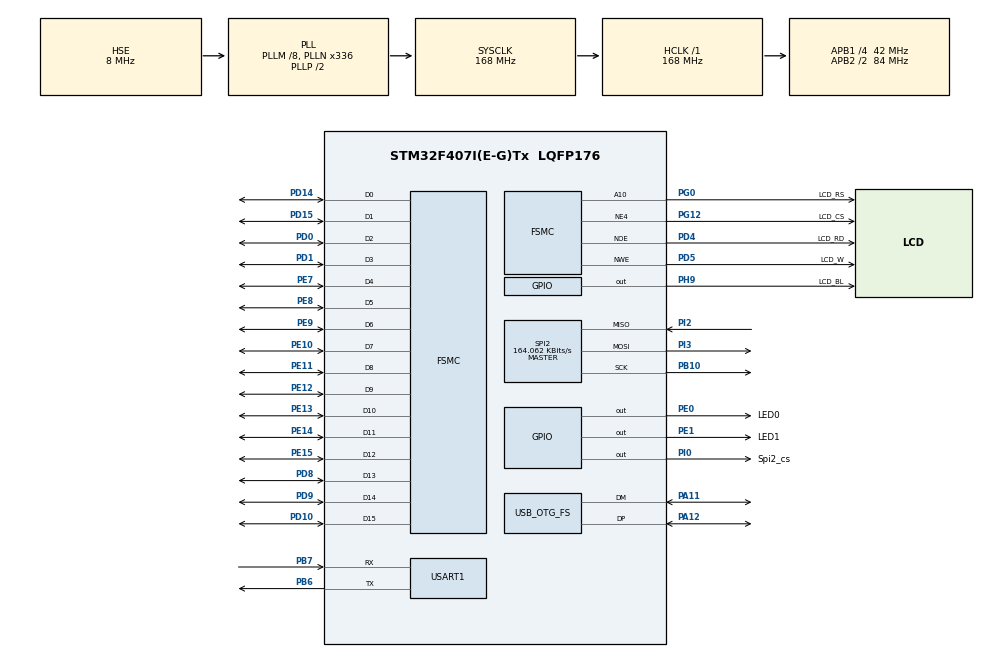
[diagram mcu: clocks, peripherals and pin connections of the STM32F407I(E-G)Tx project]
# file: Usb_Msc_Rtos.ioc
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FREERTOS.Tasks01=defaultTask,0,256,StartDefaultTask,Default,NULL,Dynamic,NULL,NULL
FREERTOS.configMINIMAL_STACK_SIZE=256
FREERTOS.configTOTAL_HEAP_SIZE=5120
FSMC.AddressSetupTime1=0xf
FSMC.DataSetupTime1=60
FSMC.ExtendedAddressSetupTime1=9
FSMC.ExtendedDataSetupTime1=9
FSMC.ExtendedMode1=FSMC_EXTENDED_MODE_ENABLE
Mcu.Family=STM32F4
Mcu.Name=STM32F407I(E-G)Tx
Mcu.Package=LQFP176
NVIC.OTG_FS_IRQn=true\:5\:0\:false\:false\:true\:true\:true\:true\:true
NVIC.PriorityGroup=NVIC_PRIORITYGROUP_4
NVIC.TIM1_UP_TIM10_IRQn=true\:0\:0\:true\:false\:true\:false\:false\:true\:true
NVIC.TimeBase=TIM1_UP_TIM10_IRQn
NVIC.TimeBaseIP=TIM1
PA11.Mode=Host_Only
PA11.Signal=USB_OTG_FS_DM
PA12.Mode=Host_Only
PA12.Signal=USB_OTG_FS_DP
PA13.Mode=Serial_Wire
PA13.Signal=SYS_JTMS-SWDIO
PA14.Mode=Serial_Wire
PA14.Signal=SYS_JTCK-SWCLK
PB10.Mode=Full_Duplex_Master
PB10.Signal=SPI2_SCK
PB6.Mode=Asynchronous
PB6.Signal=USART1_TX
PB7.Mode=Asynchronous
PB7.Signal=USART1_RX
PD0.Signal=FSMC_D2_DA2
PD1.Signal=FSMC_D3_DA3
PD10.Signal=FSMC_D15_DA15
PD14.Signal=FSMC_D0_DA0
PD15.Signal=FSMC_D1_DA1
PD4.GPIO_Label=LCD_RD
PD4.GPIO_PuPd=GPIO_PULLUP
PD4.Signal=FSMC_NOE
PD5.GPIO_Label=LCD_W
PD5.GPIO_PuPd=GPIO_PULLUP
PD5.Signal=FSMC_NWE
PD8.Signal=FSMC_D13_DA13
PD9.Signal=FSMC_D14_DA14
PE0.GPIO_Label=LED0
PE0.GPIO_Speed=GPIO_SPEED_FREQ_HIGH
PE0.PinState=GPIO_PIN_SET
PE0.Signal=GPIO_Output
PE1.GPIO_Label=LED1
PE1.GPIO_Speed=GPIO_SPEED_FREQ_HIGH
PE1.PinState=GPIO_PIN_SET
PE1.Signal=GPIO_Output
PE10.Signal=FSMC_D7_DA7
PE11.Signal=FSMC_D8_DA8
PE12.Signal=FSMC_D9_DA9
PE13.Signal=FSMC_D10_DA10
PE14.Signal=FSMC_D11_DA11
PE15.Signal=FSMC_D12_DA12
PE7.Signal=FSMC_D4_DA4
PE8.Signal=FSMC_D5_DA5
PE9.Signal=FSMC_D6_DA6
PG0.GPIO_Label=LCD_RS
PG0.GPIO_PuPd=GPIO_PULLUP
PG0.Signal=FSMC_A10
PG12.GPIO_Label=LCD_CS
PG12.GPIO_PuPd=GPIO_PULLUP
PG12.Mode=NorPsramChipSelect4_1
PG12.Signal=FSMC_NE4
PH0-OSC_IN.Mode=HSE-External-Oscillator
PH0-OSC_IN.Signal=RCC_OSC_IN
PH1-OSC_OUT.Mode=HSE-External-Oscillator
PH1-OSC_OUT.Signal=RCC_OSC_OUT
PH9.GPIO_Label=LCD_BL
PH9.GPIO_Speed=GPIO_SPEED_FREQ_HIGH
PH9.PinState=GPIO_PIN_SET
PH9.Signal=GPIO_Output
PI0.GPIO_Label=Spi2_cs
PI0.GPIO_PuPd=GPIO_PULLUP
PI0.GPIO_Speed=GPIO_SPEED_FREQ_HIGH
PI0.PinState=GPIO_PIN_SET
PI0.Signal=GPIO_Output
PI2.Mode=Full_Duplex_Master
PI2.Signal=SPI2_MISO
PI3.Mode=Full_Duplex_Master
PI3.Signal=SPI2_MOSI
ProjectManager.HeapSize=0x128
ProjectManager.StackSize=0x256
ProjectManager.TargetToolchain=MDK-ARM V5.32
RCC.48MHZClocksFreq_Value=48000000
RCC.AHBFreq_Value=168000000
RCC.APB1CLKDivider=RCC_HCLK_DIV4
RCC.APB1Freq_Value=42000000
RCC.APB1TimFreq_Value=84000000
RCC.APB2CLKDivider=RCC_HCLK_DIV2
RCC.APB2Freq_Value=84000000
RCC.APB2TimFreq_Value=168000000
RCC.CortexFreq_Value=168000000
RCC.HCLKFreq_Value=168000000
RCC.HSE_VALUE=8000000
RCC.HSI_VALUE=16000000
RCC.LSE_VALUE=32768
RCC.PLLM=8
RCC.PLLN=336
RCC.PLLQ=7
RCC.SYSCLKFreq_VALUE=168000000
RCC.SYSCLKSource=RCC_SYSCLKSOURCE_PLLCLK
RCC.VCOOutputFreq_Value=336000000
SH.FSMC_A10.0=FSMC_A10,A10_1
SH.FSMC_D0_DA0.0=FSMC_D0,16b-d1
SH.FSMC_D10_DA10.0=FSMC_D10,16b-d1
SH.FSMC_D11_DA11.0=FSMC_D11,16b-d1
SH.FSMC_D12_DA12.0=FSMC_D12,16b-d1
SH.FSMC_D13_DA13.0=FSMC_D13,16b-d1
SH.FSMC_D14_DA14.0=FSMC_D14,16b-d1
SH.FSMC_D15_DA15.0=FSMC_D15,16b-d1
SH.FSMC_D1_DA1.0=FSMC_D1,16b-d1
SH.FSMC_D2_DA2.0=FSMC_D2,16b-d1
SH.FSMC_D3_DA3.0=FSMC_D3,16b-d1
SH.FSMC_D4_DA4.0=FSMC_D4,16b-d1
SH.FSMC_D5_DA5.0=FSMC_D5,16b-d1
SH.FSMC_D6_DA6.0=FSMC_D6,16b-d1
SH.FSMC_D7_DA7.0=FSMC_D7,16b-d1
SH.FSMC_D8_DA8.0=FSMC_D8,16b-d1
SH.FSMC_D9_DA9.0=FSMC_D9,16b-d1
SH.FSMC_NOE.0=FSMC_NOE,Lcd1
SH.FSMC_NWE.0=FSMC_NWE,Lcd1
SPI2.BaudRatePrescaler=SPI_BAUDRATEPRESCALER_256
SPI2.CLKPhase=SPI_PHASE_2EDGE
SPI2.CLKPolarity=SPI_POLARITY_HIGH
SPI2.CalculateBaudRate=164.062 KBits/s
SPI2.Direction=SPI_DIRECTION_2LINES
SPI2.Mode=SPI_MODE_MASTER
SPI2.VirtualType=VM_MASTER
USART1.VirtualMode=VM_ASYNC
USB_HOST.USBH_HandleTypeDef-MSC_FS=hUsbHostFS
USB_HOST.VirtualModeFS=Msc
USB_OTG_FS.VirtualMode=Host_Only
USB_OTG_FS.phy_itface=HCD_PHY_EMBEDDED
VP_FREERTOS_VS_CMSIS_V1.Mode=CMSIS_V1
VP_SYS_VS_tim1.Mode=TIM1
VP_USB_HOST_VS_USB_HOST_MSC_FS.Mode=MSC_FS
board=custom

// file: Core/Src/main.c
/* USER CODE BEGIN Header */
/**
  ******************************************************************************
  * @file           : main.c
  * @brief          : Main program body
  ******************************************************************************
  * @attention
  *
  * Copyright (c) 2024 STMicroelectronics.
  * All rights reserved.
  *
  * This software is licensed under terms that can be found in the LICENSE file
  * in the root directory of this software component.
  * If no LICENSE file comes with this software, it is provided AS-IS.
  *
  ******************************************************************************
  */
/* USER CODE END Header */
#include "main.h"
#include "cmsis_os.h"
#include "spi.h"
#include "usart.h"
#include "usb_host.h"
#include "gpio.h"
#include "fsmc.h"

void SystemClock_Config(void);
void MX_FREERTOS_Init(void);

int main(void)
{

  /* MCU Configuration--------------------------------------------------------*/

  /* Reset of all peripherals, Initializes the Flash interface and the Systick. */
  HAL_Init();

  /* Configure the system clock */
  SystemClock_Config();

  /* Initialize all configured peripherals */
  MX_GPIO_Init();
  MX_USART1_UART_Init();
  MX_FSMC_Init();
  MX_SPI2_Init();

  /* Call init function for freertos objects (in cmsis_os2.c) */
  MX_FREERTOS_Init();

  /* Start scheduler */
  osKernelStart();

  /* We should never get here as control is now taken by the scheduler */

  /* Infinite loop */
  while (1)
  {

  }
}

void SystemClock_Config(void)
{
  RCC_OscInitTypeDef RCC_OscInitStruct = {0};
  RCC_ClkInitTypeDef RCC_ClkInitStruct = {0};

  /** Configure the main internal regulator output voltage
  */
  __HAL_RCC_PWR_CLK_ENABLE();
  __HAL_PWR_VOLTAGESCALING_CONFIG(PWR_REGULATOR_VOLTAGE_SCALE1);

  /** Initializes the RCC Oscillators according to the specified parameters
  * in the RCC_OscInitTypeDef structure.
  */
  RCC_OscInitStruct.OscillatorType = RCC_OSCILLATORTYPE_HSE;
  RCC_OscInitStruct.HSEState = RCC_HSE_ON;
  RCC_OscInitStruct.PLL.PLLState = RCC_PLL_ON;
  RCC_OscInitStruct.PLL.PLLSource = RCC_PLLSOURCE_HSE;
  RCC_OscInitStruct.PLL.PLLM = 8;
  RCC_OscInitStruct.PLL.PLLN = 336;
  RCC_OscInitStruct.PLL.PLLP = RCC_PLLP_DIV2;
  RCC_OscInitStruct.PLL.PLLQ = 7;
  if (HAL_RCC_OscConfig(&RCC_OscInitStruct) != HAL_OK)
  {
    Error_Handler();
  }

  /** Initializes the CPU, AHB and APB buses clocks
  */
  RCC_ClkInitStruct.ClockType = RCC_CLOCKTYPE_HCLK|RCC_CLOCKTYPE_SYSCLK
                              |RCC_CLOCKTYPE_PCLK1|RCC_CLOCKTYPE_PCLK2;
  RCC_ClkInitStruct.SYSCLKSource = RCC_SYSCLKSOURCE_PLLCLK;
  RCC_ClkInitStruct.AHBCLKDivider = RCC_SYSCLK_DIV1;
  RCC_ClkInitStruct.APB1CLKDivider = RCC_HCLK_DIV4;
  RCC_ClkInitStruct.APB2CLKDivider = RCC_HCLK_DIV2;

  if (HAL_RCC_ClockConfig(&RCC_ClkInitStruct, FLASH_LATENCY_5) != HAL_OK)
  {
    Error_Handler();
  }
}

void HAL_TIM_PeriodElapsedCallback(TIM_HandleTypeDef *htim)
{
  if (htim->Instance == TIM1) {
    HAL_IncTick();
  }
}

void Error_Handler(void)
{
  __disable_irq();
  while (1)
  {
  }
}

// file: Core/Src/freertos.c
/* USER CODE BEGIN Header */
/**
  ******************************************************************************
  * File Name          : freertos.c
  * Description        : Code for freertos applications
  ******************************************************************************
  * @attention
  *
  * Copyright (c) 2024 STMicroelectronics.
  * All rights reserved.
  *
  * This software is licensed under terms that can be found in the LICENSE file
  * in the root directory of this software component.
  * If no LICENSE file comes with this software, it is provided AS-IS.
  *
  ******************************************************************************
  */
/* USER CODE END Header */

#include "FreeRTOS.h"
#include "task.h"
#include "main.h"
#include "cmsis_os.h"

/* USER CODE BEGIN Includes */
#include "lcd.h"
#include "delay.h"
#include "usart.h"

#include "usbh_def.h"  //USBH_HandleTypeDef

#include "norflash.h"
#include "usbh_core.h"
#include "usbh_msc.h"
#include "exfuns.h"
#include "malloc.h"
#include "usb_host.h" //usbh_check_enume_dead、usbh_hid_reconnect
/* USER CODE END Includes */

/* USER CODE BEGIN Variables */
//lcd
uint8_t lcd_id[12];
uint16_t colors[12] = {WHITE, BLACK, BLUE, RED, MAGENTA, GREEN, CYAN, YELLOW, BRRED, GRAY, LGRAY, BROWN};
uint8_t color_index = 0;

//USBH_HandleTypeDef hUSBHost;    /* USB Host处理结构体
extern USBH_HandleTypeDef hUsbHostFS;    /* USB Host处理结构体 在usb_host.c中定义*/
uint8_t t = 0;
extern uint8_t usb_mount_status;  //usb_host.c
/* USER CODE END Variables */
osThreadId defaultTaskHandle;

void StartDefaultTask(void const * argument);

extern void MX_USB_HOST_Init(void);
void MX_FREERTOS_Init(void); /* (MISRA C 2004 rule 8.1) */

/* GetIdleTaskMemory prototype (linked to static allocation support) */
void vApplicationGetIdleTaskMemory( StaticTask_t **ppxIdleTaskTCBBuffer, StackType_t **ppxIdleTaskStackBuffer, uint32_t *pulIdleTaskStackSize );

/* USER CODE BEGIN GET_IDLE_TASK_MEMORY */
static StaticTask_t xIdleTaskTCBBuffer;
static StackType_t xIdleStack[configMINIMAL_STACK_SIZE];

void vApplicationGetIdleTaskMemory( StaticTask_t **ppxIdleTaskTCBBuffer, StackType_t **ppxIdleTaskStackBuffer, uint32_t *pulIdleTaskStackSize )
{
  *ppxIdleTaskTCBBuffer = &xIdleTaskTCBBuffer;
  *ppxIdleTaskStackBuffer = &xIdleStack[0];
  *pulIdleTaskStackSize = configMINIMAL_STACK_SIZE;
  /* place for user code */
}
/* USER CODE END GET_IDLE_TASK_MEMORY */

void MX_FREERTOS_Init(void) {

  /* Create the thread(s) */
  /* definition and creation of defaultTask */
  osThreadDef(defaultTask, StartDefaultTask, osPriorityNormal, 0, 256);
  defaultTaskHandle = osThreadCreate(osThread(defaultTask), NULL);

}

void StartDefaultTask(void const * argument)
{
  /* init code for USB_HOST */
  MX_USB_HOST_Init();
  /* USER CODE BEGIN StartDefaultTask */
	//lcd init
	delay_init(168);                    // 延时初始化
	lcd_init();                             // 初始化LCD
  sprintf((char *)lcd_id, "LCD ID:%04X", lcddev.id);  // 将LCD ID打印到lcd_id数组

	my_mem_init(SRAMIN);                /* 初始化内部SRAM内存池 */
	my_mem_init(SRAMCCM);               /* 初始化内部SRAMCCM内存池 */

	exfuns_init();                      /* 为fatfs相关变量申请内存 */

	lcd_show_string(30, 50, 200, 16, 16, "STM32", RED);
	lcd_show_string(30, 70, 200, 16, 16, "USB U Disk TEST", RED);
	lcd_show_string(30, 90, 200, 16, 16, "ATOM@ALIENTEK", RED);

	lcd_show_string(30, 110, 200, 16, 16, "USB Connecting...", RED);    /* 提示USB开始连接 */
  /* Infinite loop */
  for(;;)
  {
    //lcd test
		/*
		lcd_clear(colors[color_index]);  //清屏

		lcd_show_string(10, 40, 240, 32, 32, "STM32", RED);
		lcd_show_string(10, 80, 240, 24, 24, "TFTLCD TEST", RED);
		lcd_show_string(10, 110, 240, 16, 16, "ATOM@ALIENTEK", RED);
		lcd_show_string(10, 130, 240, 16, 16, (char *)lcd_id, RED); // 显示LCD ID
		color_index++;

		if (color_index == 12){
				color_index = 0;
		}
		HAL_GPIO_TogglePin(LED0_GPIO_Port, LED0_Pin); // LED0闪烁
		osDelay(100);
		*/

		USBH_Process(&hUsbHostFS);
		if(usbh_check_enume_dead(&hUsbHostFS))    // 检测USB HOST 枚举是否死机了?死机了,则重新初始化
		{
				//printf("Error! USB HID reconnect!\r\n");
				lcd_show_string(30, 110, 200, 16, 16, "Error! USB HID reconnect!", RED);
				usbh_hid_reconnect();       // 重连
		}
		osDelay(100);
		HAL_GPIO_TogglePin(LED0_GPIO_Port, LED0_Pin);

		/*
		//循环操作直到挂载u盘成功
		while(usb_mount_status==0)          // 等待 USB 设备挂载完成
		{
				lcd_clear(WHITE);               // 清屏
				lcd_show_string(30, 50, 200, 16, 16, "STM32", RED);
				lcd_show_string(30, 70, 200, 16, 16, "USB U Disk TEST", RED);
				lcd_show_string(30, 90, 200, 16, 16, "ATOM@ALIENTEK", RED);

				lcd_show_string(30, 110, 200, 16, 16, "USB Connecting...", RED);    // 提示USB开始连接
				USBH_Process(&hUsbHostFS);
				osDelay(10);
				t++;
				if (t == 50)
				{
						t = 0;
						HAL_GPIO_TogglePin(LED0_GPIO_Port, LED0_Pin);
						lcd_show_string(30, 110, 200, 16, 16, "Error! USB HID reconnect!", RED);
						usbh_hid_reconnect();       // 重连
				}
		}
		*/
		/*
		USBH_Process(&hUsbHostFS);
		osDelay(100);
		t++;

		if (t == 50)
		{
				t = 0;
				HAL_GPIO_TogglePin(LED0_GPIO_Port, LED0_Pin);
		}
		*/
  }
  /* USER CODE END StartDefaultTask */
}
